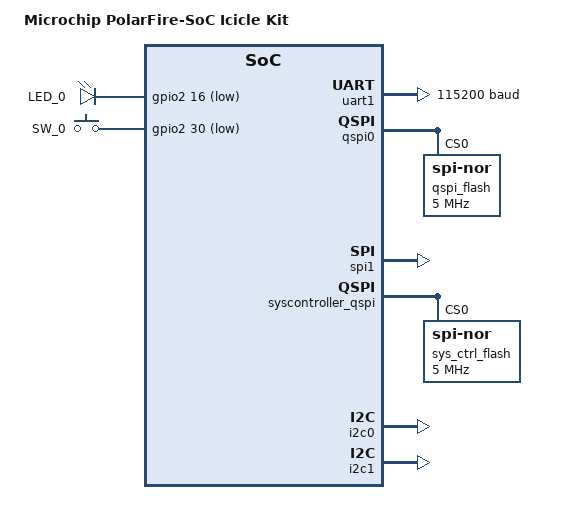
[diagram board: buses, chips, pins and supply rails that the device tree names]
/*
 * Copyright (c) 2020-2021 Microchip Technology Inc
 *
 * SPDX-License-Identifier: Apache-2.0
 */

/dts-v1/;
#include <microchip/mpfs.dtsi>
#include <zephyr/dt-bindings/input/input-event-codes.h>
#include <mem.h>

/ {
	model = "Microchip PolarFire-SoC Icicle Kit";
	compatible = "microchip,mpfs-icicle-kit", "microchip,mpfs";

	cpus {
		cpu@0 {
			status = "disabled";
		};
	};

	aliases {
		led0 = &led0;
		sw0 = &sw0;
		i2c0 = &i2c0;
		i2c1 = &i2c1;
	};

	chosen {
		zephyr,console = &uart1;
		zephyr,shell-uart = &uart1;
		zephyr,sram = &sram1;
	};

	leds {
		compatible = "gpio-leds";

		led0: led0 {
			gpios = <&gpio2 16 GPIO_ACTIVE_LOW>;
			label = "LED_0";
		};
	};

	keys {
		compatible = "gpio-keys";
		sw0: sw0 {
			gpios = <&gpio2 30 GPIO_ACTIVE_LOW>;
			label = "SW_0";
			zephyr,code = <INPUT_KEY_0>;
		};
	};
};

&uart1 {
	status = "okay";
	current-speed = <115200>;
	clock-frequency = <150000000>;
};

&qspi0 {
	status = "okay";
	qspi_flash: spi-nor-flash@0 {
		compatible = "jedec,spi-nor";
		reg = <0>;
		spi-max-frequency = <5000000>;
		size = <DT_SIZE_M(256)>;
		jedec-id = [20 ba 19];
	};
};

&spi1 {
	status = "okay";
};

&syscontroller_qspi {
	status = "okay";
	sys_ctrl_flash: spi-nor-flash@0 {
		compatible = "jedec,spi-nor";
		reg = <0>;
		spi-max-frequency = <5000000>;
	};
};

&gpio2 {
	status = "okay";
};

&i2c0 {
	status = "okay";
};

&i2c1 {
	status = "okay";
};
